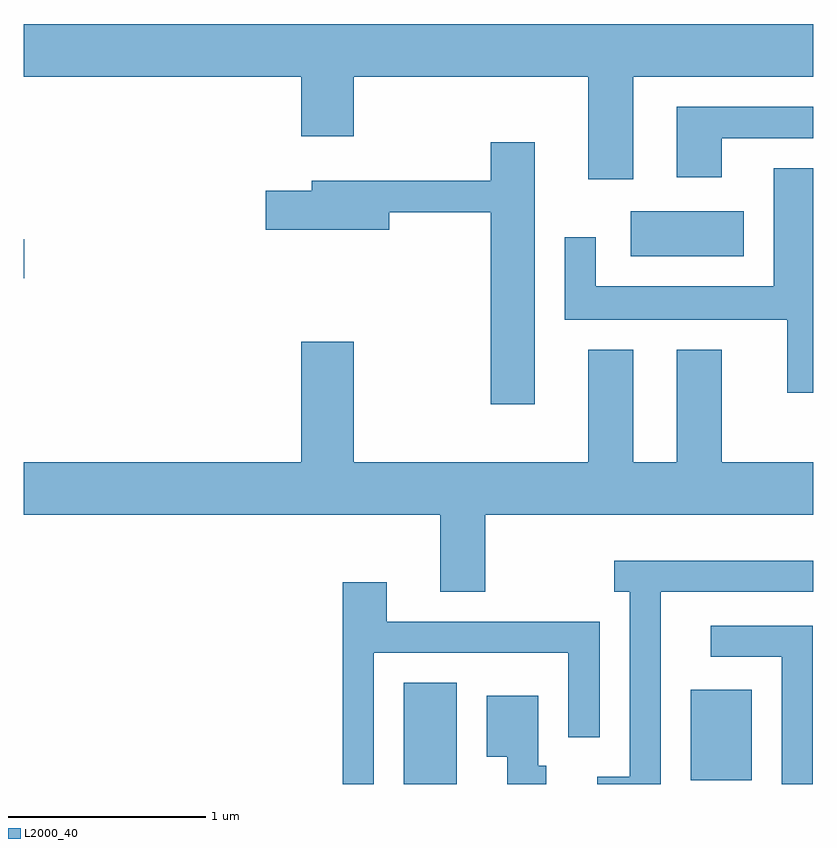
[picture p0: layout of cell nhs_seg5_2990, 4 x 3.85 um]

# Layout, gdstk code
import gdstk
lib = gdstk.Library(unit=1e-6, precision=1e-09)
def R(c, l, rs):  # rectangles x0, y0, x1, y1
    for r in rs: c.add(gdstk.rectangle(r[:2], r[2:], *l))
def P(c, l, *ps):  # polygons
    for p in ps: c.add(gdstk.Polygon(p, *l))
L2000_40 = (2000, 40)

nhs_seg5_2990 = lib.new_cell('nhs_seg5_2990')
R(nhs_seg5_2990, L2000_40, [(275.536,1482.072,275.804,1482.584), (276.991,1482.091,277.299,1482.549), (273.611,1484.636,273.614,1484.834), (276.686,1484.746,277.259,1484.974)])
P(nhs_seg5_2990, L2000_40, [(276.699,1485.656),(277.611,1485.656),(277.611,1485.924),(273.611,1485.924),(273.611,1485.656),(275.016,1485.656),(275.016,1485.356),(275.284,1485.356),(275.284,1485.656),(276.471,1485.656),(276.471,1485.136),(276.699,1485.136)],
  [(277.149,1485.346),(277.611,1485.346),(277.611,1485.504),(276.921,1485.504),(276.921,1485.146),(277.149,1485.146)],
  [(276.199,1485.324),(275.976,1485.324),(275.976,1485.129),(275.071,1485.129),(275.071,1485.079),(274.836,1485.079),(274.836,1484.881),(275.464,1484.881),(275.464,1484.971),(275.976,1484.971),(275.976,1483.996),(276.199,1483.996)],
  [(277.611,1485.194),(277.411,1485.194),(277.411,1484.594),(276.509,1484.594),(276.509,1484.843),(276.351,1484.843),(276.351,1484.426),(277.481,1484.426),(277.481,1484.056),(277.611,1484.056)],
  [(275.949,1483.436),(277.611,1483.436),(277.611,1483.704),(277.149,1483.704),(277.149,1484.274),(276.921,1484.274),(276.921,1483.704),(276.699,1483.704),(276.699,1484.274),(276.471,1484.274),(276.471,1483.704),(275.284,1483.704),(275.284,1484.314),(275.016,1484.314),(275.016,1483.704),(273.611,1483.704),(273.611,1483.436),(275.721,1483.436),(275.721,1483.046),(275.949,1483.046)],
  [(276.839,1483.046),(277.611,1483.046),(277.611,1483.204),(276.603,1483.204),(276.603,1483.046),(276.681,1483.046),(276.681,1482.109),(276.518,1482.109),(276.518,1482.072),(276.839,1482.072)],
  [(275.384,1482.736),(276.371,1482.736),(276.371,1482.308),(276.529,1482.308),(276.529,1482.894),(275.449,1482.894),(275.449,1483.094),(275.226,1483.094),(275.226,1482.072),(275.384,1482.072)],
  [(277.609,1482.874),(277.093,1482.874),(277.093,1482.716),(277.451,1482.716),(277.451,1482.072),(277.609,1482.072)],
  [(276.259,1482.164),(276.219,1482.164),(276.219,1482.519),(275.956,1482.519),(275.956,1482.211),(276.061,1482.211),(276.061,1482.072),(276.259,1482.072)])

lib.write_gds('nhs_seg5_2990.gds')
